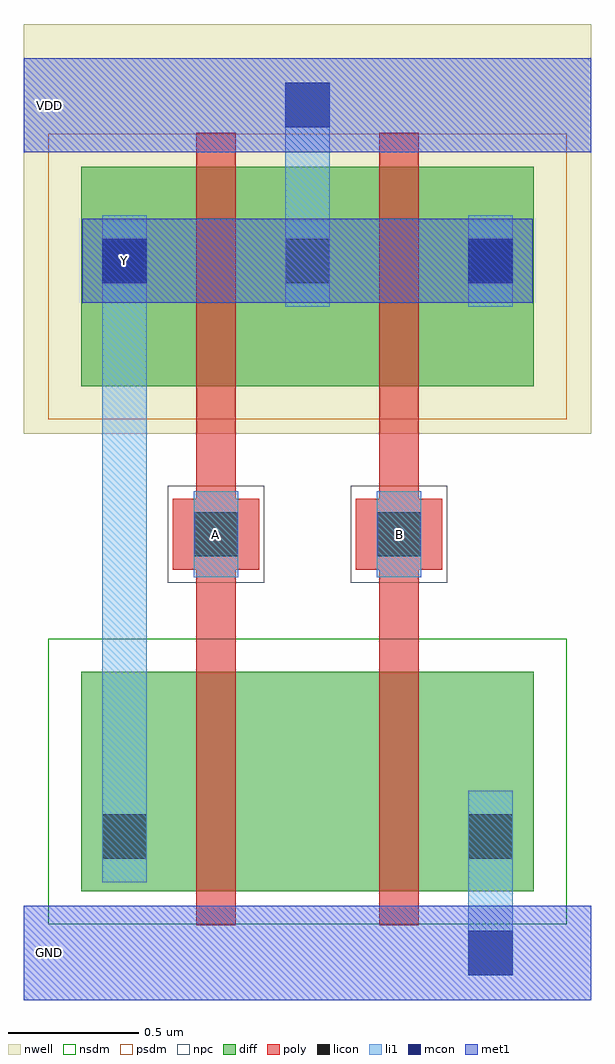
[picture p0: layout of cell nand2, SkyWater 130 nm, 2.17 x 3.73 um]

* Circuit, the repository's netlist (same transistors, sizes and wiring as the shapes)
.subckt nand2 a b y vdd vss
XXP1 y a vdd vdd sky130_fd_pr__pfet_01v8 L=0.15 W=0.84 nf=1 m=1
XXP2 y b vdd vdd sky130_fd_pr__pfet_01v8 L=0.15 W=0.84 nf=1 m=1
XXN1 y a n1 vss sky130_fd_pr__nfet_01v8 L=0.15 W=0.84 nf=1 m=1
XXN2 n1 b vss vss sky130_fd_pr__nfet_01v8 L=0.15 W=0.84 nf=1 m=1
.ends

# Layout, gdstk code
import gdstk
lib = gdstk.Library(unit=1e-6, precision=1e-09)
def R(c, l, rs):  # rectangles x0, y0, x1, y1
    for r in rs: c.add(gdstk.rectangle(r[:2], r[2:], *l))
def A(c, l, x, y, w, h, nx, ny, dx, dy):  # array of equal rectangles
    R(c, l, [(x+i*dx, y+j*dy, x+i*dx+w, y+j*dy+h) for i in range(nx) for j in range(ny)])
nwell = (64, 20)
diff = (65, 20)
poly = (66, 20)
licon = (66, 44)
li1 = (67, 20)
mcon = (67, 44)
met1 = (68, 20)
nsdm = (93, 44)
psdm = (94, 20)
npc = (95, 20)

nand2 = lib.new_cell('nand2')
R(nand2, nwell, [(0,1.985,2.17,3.55)])
R(nand2, diff, [(0.22,0.235,1.95,1.075), (0.22,2.165,1.95,3.005)])
R(nand2, poly, [(0.66,0.105,0.81,1.465), (1.36,0.105,1.51,1.465), (0.57,1.465,0.9,1.735), (1.27,1.465,1.6,1.735), (0.66,1.735,0.81,3.135), (1.36,1.735,1.51,3.135)])
A(nand2, licon, 0.3, 2.56, 0.17, 0.17, 3, 1, 0.7, 0)
R(nand2, licon, [(0.3,0.36,0.47,0.53), (1.7,0.36,1.87,0.53), (0.65,1.515,0.82,1.685), (1.35,1.515,1.52,1.685)])
R(nand2, li1, [(1.7,-0.085,1.87,0.62), (0.3,0.27,0.47,2.82), (0.65,1.435,0.82,1.765), (1.35,1.435,1.52,1.765), (1,2.47,1.17,3.325), (1.7,2.47,1.87,2.82)])
R(nand2, mcon, [(1.7,-0.085,1.87,0.085), (0.3,2.56,0.47,2.73), (1.7,2.56,1.87,2.73), (1,3.155,1.17,3.325)])
R(nand2, met1, [(0,-0.18,2.17,0.18), (0.225,2.485,1.945,2.805), (0,3.06,2.17,3.42)])
R(nand2, nsdm, [(0.095,0.11,2.075,1.2)])
R(nand2, psdm, [(0.095,2.04,2.075,3.13)])
R(nand2, npc, [(0.55,1.415,0.92,1.785), (1.25,1.415,1.62,1.785)])
nand2.add(gdstk.Label('A', (0.735,1.6), layer=67, texttype=5))
nand2.add(gdstk.Label('B', (1.435,1.6), layer=67, texttype=5))
nand2.add(gdstk.Label('Y', (0.385,2.645), layer=68, texttype=5))
nand2.add(gdstk.Label('VDD', (0.1,3.24), layer=68, texttype=5))
nand2.add(gdstk.Label('GND', (0.1,0), layer=68, texttype=5))

lib.write_gds('nand2.gds')
